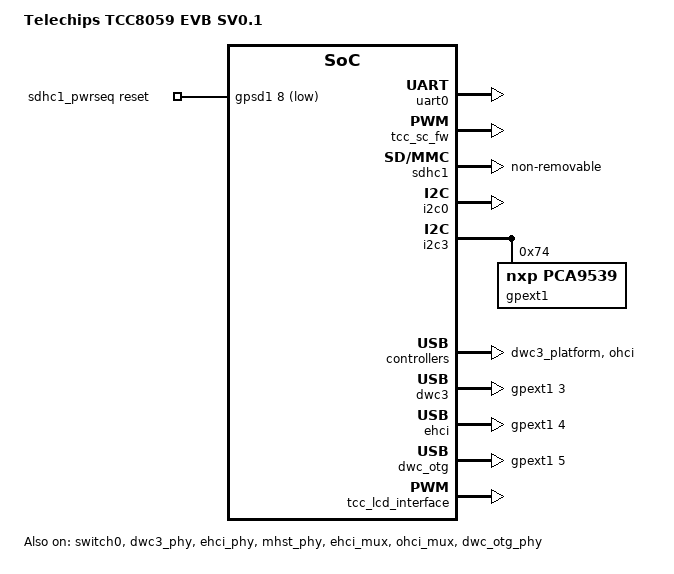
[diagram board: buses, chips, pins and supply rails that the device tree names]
// SPDX-License-Identifier: (GPL-2.0-or-later OR MIT)
/*
 * Copyright (C) Telechips Inc.
 */

/dts-v1/;

#include "tcc805x.dtsi"
#include "tcc8059-pinctrl.dtsi"

/ {
	model = "Telechips TCC8059 EVB SV0.1";
	board-id = <TCC_BOARD_ID_TCC8059_EVB>;
	board-rev = <0x0>;
	interrupt-parent = <&gic0>;

	sdhc1_pwrseq: sdhc1_pwrseq {
		compatible = "mmc-pwrseq-simple";
		reset-gpios = <&gpsd1 8 GPIO_ACTIVE_LOW>;
	};
};

&chosen {
	stdout-path = &uart0;
};

&cpus {
	cpu@0 {
		status = "okay";
	};
};

&gic0 {
	status = "okay";
};

&uart0 {
	pinctrl-names = "default";
	pinctrl-0 = <&uart18_data>;
	status = "okay";
	u-boot,dm-pre-reloc;
};

&mbox0 {
	status = "okay";
	u-boot,dm-pre-reloc;
};

&tcc_sc_fw {
	status = "okay";
	mboxes = <&mbox0 0>;
	u-boot,dm-pre-reloc;

	tcc_sc_mmc {
		status = "okay";
	};
};

/* eMMC */
&sdhc0 {
	pinctrl-names = "default";
	pinctrl-0 = <&sd0_clk>, <&sd0_cmd>, <&sd0_bus8>, <&sd0_strb>;
	bus-width = <8>;
	status = "disabled";

	tcc-mmc-taps = <0xF 0xF 0xF 0xF>;
	tcc-mmc-hs400-pos-tap = <0x6>;
	tcc-mmc-hs400-neg-tap = <0xB>;

	non-removable;
	mmc-hs200-1_8v;
	mmc-hs400-1_8v;
};

/* SD Slot */
&sdhc1 {
	pinctrl-names = "default";
	pinctrl-0 = <&sd1_clk>, <&sd1_cmd>, <&sd1_bus4>;
	status = "okay";

	mmc-pwrseq = <&sdhc1_pwrseq>;

	non-removable;
};

&i2c0 {
	pinctrl-names = "default";
	pinctrl-0 = <&i2c12_bus>;
	port-mux = <12>;

	status = "okay";
};

&i2c3 {
	pinctrl-names = "default";
	pinctrl-0 = <&i2c11_bus>;
	port-mux = <11>;

	status = "okay";

	gpext1: tca9539@74 {
		compatible = "nxp,pca9539";
		reg = <0x74>;
		gpio-controller;
		#gpio-cells = <2>;
		label = "gpext1";

		status = "okay";
	};
};

&i2c7 {
	pinctrl-names = "default";
	pinctrl-0 = <&i2c28_bus>;
	port-mux = <28>;
	status = "disabled";

	videosource0: videodecoder_adv7182 {
		compatible	= "analogdevices,adv7182";
		pinctrl-names	= "idle", "active";
		pinctrl-0	= <&cam0_idle>;
		pinctrl-1	= <&cam0_rst &cam0_clk &cam0_hsync &cam0_vsync
				   &cam0_fld &cam0_de &cam0_data>;
		rst-gpios	= <&gpb 14 GPIO_ACTIVE_HIGH>;
		reg		= <0x21>;	// 0x42 >> 1
		cifport		= <0>;
	};
#if 1
	videosource2: deserializer_max9276 {
		compatible	= "maxim,max9276";
		pinctrl-names	= "idle", "active";
		pinctrl-0	= <&cam0_idle>;
		pinctrl-1	= <&cam0_rst &cam0_clk &cam0_hsync &cam0_vsync
				   &cam0_fld &cam0_de &cam0_data>;
		rst-gpios	= <&gpb 14 GPIO_ACTIVE_HIGH>;
		reg		= <0x4A>;	// 0x94 >> 1
		cifport		= <0>;
	};
#else
	videosource2: deserializer_max9276 {
		compatible	= "maxim,max9276";
		pinctrl-names	= "idle", "active";
		pinctrl-0	= <&cam1_idle>;
		pinctrl-1	= <&cam1_rst &cam1_clk &cam1_hsync &cam1_vsync
				   &cam1_fld &cam1_de &cam1_data>;
		rst-gpios	= <&gpsd2 9 GPIO_ACTIVE_HIGH>;
		reg		= <0x4A>;	// 0x94 >> 1
		cifport		= <1>;
	};
#endif
};

&switch0 {
	status = "okay";

	pinctrl-names = "default";
	pinctrl-0 = <&switch_ma15>;

	switch-gpios = <&gpma 15 1>;
	switch-active = <1>;
};

&dwc3_phy {
	status = "okay";
};

&dwc3_platform {
	status = "okay";
};

&dwc3 {
	use_expander;
	gpios = <&gpext1 3 0>;
	status = "okay";
};

&ehci_phy {
	status = "okay";
};

&mhst_phy {
	status = "okay";
};

&ehci {
	use_expander;
	gpios = <&gpext1 4 0>;
	status = "okay";
};

&ehci_mux {
	use_expander;
	gpios = <&gpext1 5 0>;
	status = "okay";
};

&ohci {
	status = "okay";
};

&ohci_mux {
	status = "okay";
};

&dwc_otg_phy {
	status = "okay";
};

&dwc_otg {
	use_expander;
	gpios = <&gpext1 5 0>;
	status= "okay";
};

&tcc_lcd_interface{
	board-type = <0>;
	status = "okay";
};
